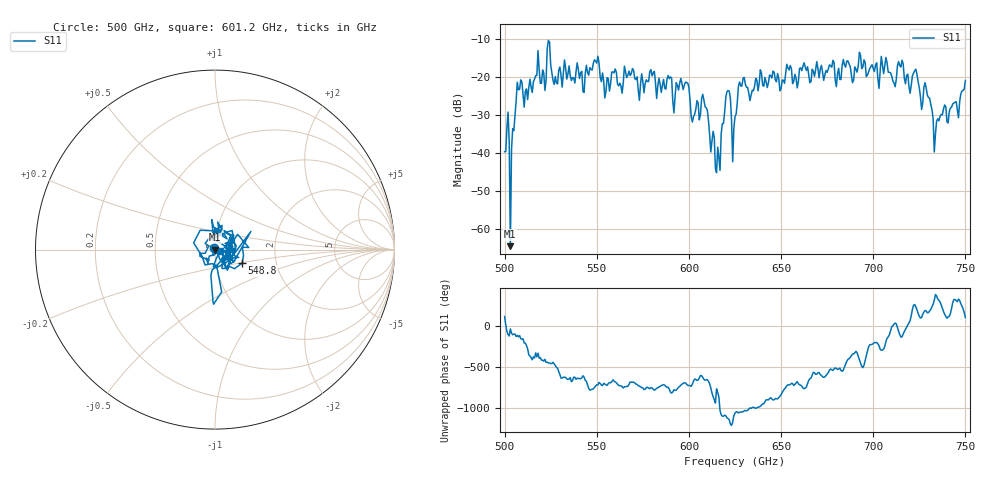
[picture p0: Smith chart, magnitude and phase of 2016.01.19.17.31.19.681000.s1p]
!Created with skrf (http://scikit-rf.org).
# GHz S RI R 50.0
!freq ReS11 ImS11
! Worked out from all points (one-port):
!   401 points, 500 GHz to 750 GHz, reference 50 ohm
!   lowest |S11| = -64.6 dB at 503.1 GHz (marker M1), VSWR 1.00, Z = 50 - j0.038 ohm
!   |S11| at or under -10 dB: start of sweep to end of sweep
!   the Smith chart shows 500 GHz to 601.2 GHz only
!   S11 on the Smith chart (normalised r, x): 500 GHz: 0.99, +0.02; 548.8 GHz: 1.34, -0.21; 601.2 GHz: 1.06, -0.01
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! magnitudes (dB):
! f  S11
! 500 GHz  -39.7
! 503.1 GHz  -64.6
! 504.4 GHz  -33.6
! 505.6 GHz  -30.3
! 508.1 GHz  -23.2
! 521.2 GHz  -19.0
! 524.4 GHz  -10.8
! 527.5 GHz  -19.9
! 531.2 GHz  -22.6
! 548.8 GHz  -15.4
! 562.5 GHz  -21.6
! 568.8 GHz  -19.1
! 593.8 GHz  -22.2
! 598.8 GHz  -21.5
! 601.2 GHz  -30.5
! 608.8 GHz  -27.8
! 615.6 GHz  -38.5
! 621.2 GHz  -23.5
! 625 GHz  -30.4
! 628.8 GHz  -22.3
! 656.2 GHz  -21.7
! 687.5 GHz  -17.2
! 711.2 GHz  -21.5
! 715 GHz  -17.3
! 718.8 GHz  -19.2
! 728.8 GHz  -23.0
! 734.4 GHz  -31.6
! 750 GHz  -20.9
